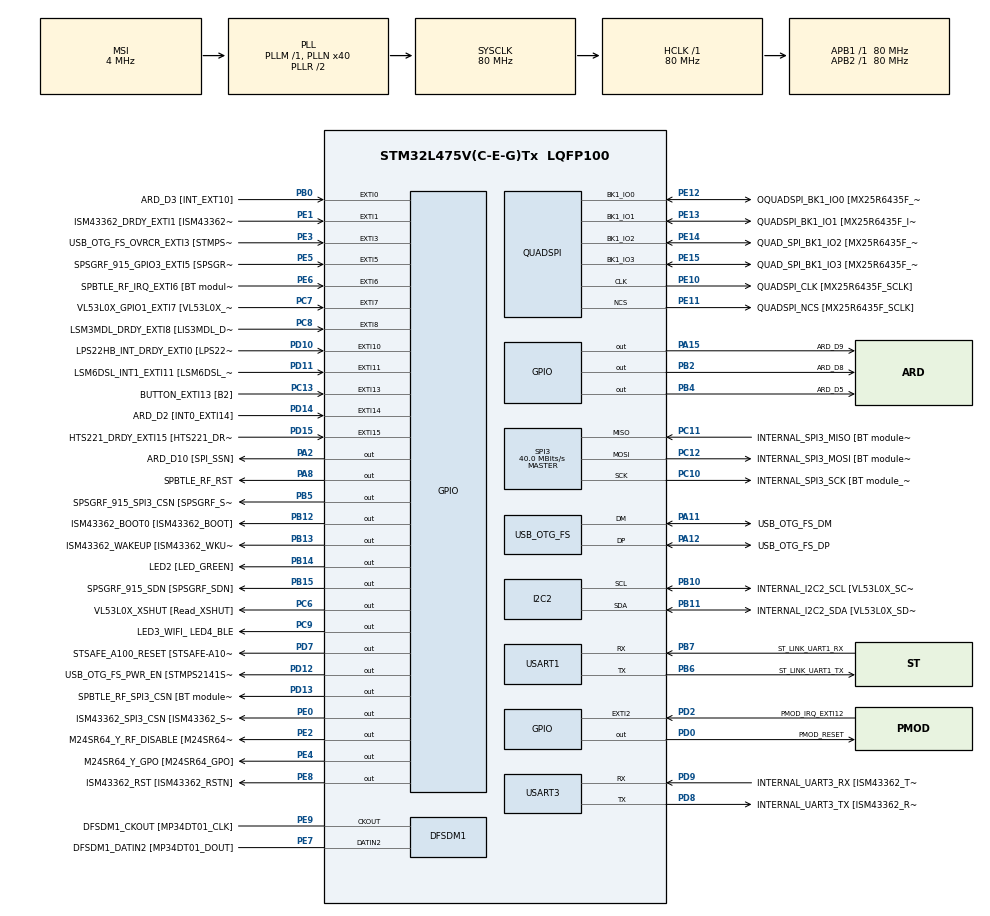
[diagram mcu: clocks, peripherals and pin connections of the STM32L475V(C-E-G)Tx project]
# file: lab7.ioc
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Mcu.Family=STM32L4
Mcu.Name=STM32L475V(C-E-G)Tx
Mcu.Package=LQFP100
NVIC.EXTI15_10_IRQn=true\:0\:0\:false\:false\:true\:true\:true\:true
NVIC.EXTI9_5_IRQn=true\:0\:0\:false\:false\:true\:true\:true\:true
NVIC.PriorityGroup=NVIC_PRIORITYGROUP_4
PA0.GPIO_Label=ARD_D1 [UART4_TX]
PA0.Signal=UART4_TX
PA1.GPIO_Label=ARD_D0 [UART4_RX]
PA1.Signal=UART4_RX
PA10.GPIO_Label=USB_OTG_FS_ID
PA10.Signal=USB_OTG_FS_ID
PA11.GPIO_Label=USB_OTG_FS_DM
PA11.Mode=Device_Only
PA11.Signal=USB_OTG_FS_DM
PA12.GPIO_Label=USB_OTG_FS_DP
PA12.Mode=Device_Only
PA12.Signal=USB_OTG_FS_DP
PA13\ (JTMS-SWDIO).GPIO_Label=SYS_JTMS_SWDIO
PA13\ (JTMS-SWDIO).Mode=Serial_Wire
PA13\ (JTMS-SWDIO).Signal=SYS_JTMS-SWDIO
PA14\ (JTCK-SWCLK).GPIO_Label=SYS_JTCK_SWCLK
PA14\ (JTCK-SWCLK).Mode=Serial_Wire
PA14\ (JTCK-SWCLK).Signal=SYS_JTCK-SWCLK
PA15\ (JTDI).GPIO_Label=ARD_D9
PA15\ (JTDI).Signal=GPIO_Output
PA2.GPIO_Label=ARD_D10 [SPI_SSN]
PA2.Signal=GPIO_Output
PA3.GPIO_Label=ARD_D4
PA3.Signal=S_TIM2_CH4
PA4.GPIO_Label=ARD_D7
PA4.Signal=ADCx_IN9
PA5.GPIO_Label=ARD_D13 [SPI1_SCK]
PA5.Signal=SPI1_SCK
PA6.GPIO_Label=ARD_D12 [SPI1_MISO]
PA6.Signal=SPI1_MISO
PA7.GPIO_Label=ARD_D11 [SPI1_MOSI]
PA7.Signal=SPI1_MOSI
PA8.GPIO_Label=SPBTLE_RF_RST
PA8.Signal=GPIO_Output
PA9.GPIO_Label=USB_OTG_FS_VBUS [STMPS2141STR_OUT]
PA9.Signal=USB_OTG_FS_VBUS
PB0.GPIO_Label=ARD_D3 [INT_EXT10]
PB0.Signal=GPXTI0
PB1.GPIO_Label=ARD_D6 [ADC1_IN6]
PB1.Signal=ADCx_IN16
PB10.GPIO_Label=INTERNAL_I2C2_SCL [VL53L0X_SCL]
PB10.GPIO_Pu=GPIO_PULLUP
PB10.Mode=I2C
PB10.Signal=I2C2_SCL
PB11.GPIO_Label=INTERNAL_I2C2_SDA [VL53L0X_SDA]
PB11.GPIO_Pu=GPIO_PULLUP
PB11.Mode=I2C
PB11.Signal=I2C2_SDA
PB12.GPIO_Label=ISM43362_BOOT0 [ISM43362_BOOT]
PB12.Signal=GPIO_Output
PB13.GPIO_Label=ISM43362_WAKEUP [ISM43362_WKUP]
PB13.Signal=GPIO_Output
PB14.GPIO_Label=LED2 [LED_GREEN]
PB14.Signal=GPIO_Output
PB15.GPIO_Label=SPSGRF_915_SDN [SPSGRF_SDN]
PB15.Signal=GPIO_Output
PB2.GPIO_Label=ARD_D8
PB2.Signal=GPIO_Output
PB3\ (JTDO-TRACESWO).GPIO_Label=SYS_JTD0_SWO
PB3\ (JTDO-TRACESWO).Signal=SYS_JTDO-SWO
PB4\ (NJTRST).GPIO_Label=ARD_D5
PB4\ (NJTRST).Signal=GPIO_Output
PB5.GPIO_Label=SPSGRF_915_SPI3_CSN [SPSGRF_SPI_CS]
PB5.PinState=GPIO_PIN_SET
PB5.Signal=GPIO_Output
PB6.GPIO_Label=ST_LINK_UART1_TX
PB6.Mode=Asynchronous
PB6.Signal=USART1_TX
PB7.GPIO_Label=ST_LINK_UART1_RX
PB7.Mode=Asynchronous
PB7.Signal=USART1_RX
PB8.GPIO_Label=ARD_D15 [I2C1_SCL]
PB8.Signal=I2C1_SCL
PB9.GPIO_Label=ARD_D14 [I2C1_SDA]
PB9.Signal=I2C1_SDA
PC0.GPIO_Label=ARD_A5 [ADC]
PC0.Signal=ADCx_IN1
PC1.GPIO_Label=ARD_A4 [ADC]
PC1.Signal=ADCx_IN2
PC10.GPIO_Label=INTERNAL_SPI3_SCK [BT module_SPI_SCLK] [ISM43362_SCK]
PC10.Mode=Full_Duplex_Master
PC10.Signal=SPI3_SCK
PC11.GPIO_Label=INTERNAL_SPI3_MISO [BT module_SPI_MISO] [ISM43362_MISO]
PC11.Mode=Full_Duplex_Master
PC11.Signal=SPI3_MISO
PC12.GPIO_Label=INTERNAL_SPI3_MOSI [BT module_SPI_MOSI] [ISM43362_MOSI]
PC12.Mode=Full_Duplex_Master
PC12.Signal=SPI3_MOSI
PC13.GPIO_Label=BUTTON_EXTI13 [B2]
PC13.GPIO_ModeDefaultEXTI=GPIO_MODE_IT_FALLING
PC13.Signal=GPXTI13
PC14-OSC32_IN\ (PC14).Mode=LSE-External-Oscillator
PC14-OSC32_IN\ (PC14).Signal=RCC_OSC32_IN
PC15-OSC32_OUT\ (PC15).Mode=LSE-External-Oscillator
PC15-OSC32_OUT\ (PC15).Signal=RCC_OSC32_OUT
PC2.GPIO_Label=ARD_A3 [ADC]
PC2.Signal=ADCx_IN3
PC3.GPIO_Label=ARD_A2 [ADC]
PC3.Signal=ADCx_IN4
PC4.GPIO_Label=ARD_A1 [ADC]
PC4.Signal=ADCx_IN13
PC5.GPIO_Label=ARD_A0 [ADC]
PC5.Signal=ADCx_IN14
PC6.GPIO_Label=VL53L0X_XSHUT [Read_XSHUT]
PC6.Signal=GPIO_Output
PC7.GPIO_Label=VL53L0X_GPIO1_EXTI7 [VL53L0X_GPIO1]
PC7.Signal=GPXTI7
PC8.GPIO_Label=LSM3MDL_DRDY_EXTI8 [LIS3MDL_DRDY]
PC8.Signal=GPXTI8
PC9.GPIO_Label=LED3_WIFI_ LED4_BLE
PC9.Signal=GPIO_Output
PD0.GPIO_Label=PMOD_RESET
PD0.Signal=GPIO_Output
PD1.GPIO_Label=PMOD_SPI2_SCK
PD1.Signal=SPI2_SCK
PD10.GPIO_Label=LPS22HB_INT_DRDY_EXTI0 [LPS22HB_INT_DRDY] 
PD10.Signal=GPXTI10
PD11.GPIO_Label=LSM6DSL_INT1_EXTI11 [LSM6DSL_INT1]
PD11.Signal=GPXTI11
PD12.GPIO_Label=USB_OTG_FS_PWR_EN [STMPS2141STR_EN]
PD12.Signal=GPIO_Output
PD13.GPIO_Label=SPBTLE_RF_SPI3_CSN [BT module_SPI_CS]
PD13.PinState=GPIO_PIN_SET
PD13.Signal=GPIO_Output
PD14.GPIO_Label=ARD_D2 [INT0_EXTI14]
PD14.Signal=GPXTI14
PD15.GPIO_Label=HTS221_DRDY_EXTI15 [HTS221_DRDY]
PD15.Signal=GPXTI15
PD2.GPIO_Label=PMOD_IRQ_EXTI12
PD2.Signal=GPXTI2
PD3.GPIO_Label=PMOD_UART2_CTS
PD3.Signal=USART2_CTS
PD4.GPIO_Label=PMOD_UART2_RTS
PD4.Signal=USART2_RTS
PD5.GPIO_Label=PMOD_UART2_TX
PD5.Signal=USART2_TX
PD6.GPIO_Label=PMOD_UART2_RX
PD6.Signal=USART2_RX
PD7.GPIO_Label=STSAFE_A100_RESET [STSAFE-A100_RESET]
PD7.Signal=GPIO_Output
PD8.GPIO_Label=INTERNAL_UART3_TX [ISM43362_RX]
PD8.Mode=Asynchronous
PD8.Signal=USART3_TX
PD9.GPIO_Label=INTERNAL_UART3_RX [ISM43362_TX]
PD9.Mode=Asynchronous
PD9.Signal=USART3_RX
PE0.GPIO_Label=ISM43362_SPI3_CSN [ISM43362_SSN]
PE0.PinState=GPIO_PIN_SET
PE0.Signal=GPIO_Output
PE1.GPIO_Label=ISM43362_DRDY_EXTI1 [ISM43362_DATARDY]
PE1.Signal=GPXTI1
PE10.GPIO_Label=QUADSPI_CLK [MX25R6435F_SCLK]
PE10.Mode=Single Bank
PE10.Signal=QUADSPI_CLK
PE11.GPIO_Label=QUADSPI_NCS [MX25R6435F_SCLK]
PE11.Mode=Single Bank
PE11.Signal=QUADSPI_NCS
PE12.GPIO_Label=OQUADSPI_BK1_IO0 [MX25R6435F_IO0]
PE12.Mode=Single Bank
PE12.Signal=QUADSPI_BK1_IO0
PE13.GPIO_Label=QUADSPI_BK1_IO1 [MX25R6435F_IO1]
PE13.Mode=Single Bank
PE13.Signal=QUADSPI_BK1_IO1
PE14.GPIO_Label=QUAD_SPI_BK1_IO2 [MX25R6435F_IO2]
PE14.Mode=Single Bank
PE14.Signal=QUADSPI_BK1_IO2
PE15.GPIO_Label=QUAD_SPI_BK1_IO3 [MX25R6435F_IO3]
PE15.Mode=Single Bank
PE15.Signal=QUADSPI_BK1_IO3
PE2.GPIO_Label=M24SR64_Y_RF_DISABLE [M24SR64_RFDIS]
PE2.Signal=GPIO_Output
PE3.GPIO_Label=USB_OTG_FS_OVRCR_EXTI3 [STMPS2141STR_FAULT]
PE3.Signal=GPXTI3
PE4.GPIO_Label=M24SR64_Y_GPO [M24SR64_GPO]
PE4.Signal=GPIO_Output
PE5.GPIO_Label=SPSGRF_915_GPIO3_EXTI5 [SPSGRF_GPIO_3]
PE5.Signal=GPXTI5
PE6.GPIO_Label=SPBTLE_RF_IRQ_EXTI6 [BT module_SPI_IRQ]
PE6.Signal=GPXTI6
PE7.GPIO_Label=DFSDM1_DATIN2 [MP34DT01_DOUT]
PE7.Signal=S_DATAIN2DFSDM1
PE8.GPIO_Label=ISM43362_RST [ISM43362_RSTN]
PE8.Signal=GPIO_Output
PE9.GPIO_Label=DFSDM1_CKOUT [MP34DT01_CLK]
PE9.Signal=S_CKOUTDFSDM1
ProjectManager.HeapSize=0x200
ProjectManager.StackSize=0x400
ProjectManager.TargetToolchain=STM32CubeIDE
QUADSPI.ClockPrescaler=2
QUADSPI.FifoThreshold=4
QUADSPI.FlashSize=23
QUADSPI.SampleShifting=QSPI_SAMPLE_SHIFTING_HALFCYCLE
RCC.ADCFreq_Value=48000000
RCC.AHBFreq_Value=80000000
RCC.APB1Freq_Value=80000000
RCC.APB1TimFreq_Value=80000000
RCC.APB2Freq_Value=80000000
RCC.APB2TimFreq_Value=80000000
RCC.CortexFreq_Value=80000000
RCC.HCLKFreq_Value=80000000
RCC.HSE_VALUE=8000000
RCC.HSI_VALUE=16000000
RCC.MSI_VALUE=4000000
RCC.PLLN=40
RCC.PLLSAI1N=24
RCC.SYSCLKFreq_VALUE=80000000
RCC.SYSCLKSource=RCC_SYSCLKSOURCE_PLLCLK
RCC.USBFreq_Value=48000000
RCC.VCOOutputFreq_Value=160000000
SH.ADCx_IN1.0=ADC1_IN1
SH.ADCx_IN13.0=ADC1_IN13
SH.ADCx_IN14.0=ADC1_IN14
SH.ADCx_IN16.0=ADC1_IN16
SH.ADCx_IN2.0=ADC1_IN2
SH.ADCx_IN3.0=ADC1_IN3
SH.ADCx_IN4.0=ADC1_IN4
SH.ADCx_IN9.0=ADC1_IN9
SH.S_CKOUTDFSDM1.0=DFSDM1_CKOUT,CKOUT
SH.S_CKOUTDFSDM1.1=DFSDM1_CKOUT,PDM_SPI_Input_from_ch12_and_Internal_Clock
SH.S_DATAIN2DFSDM1.0=DFSDM1_DATIN2,PDM_SPI_Input_from_ch12_and_Internal_Clock
SH.S_TIM2_CH4.0=TIM2_CH4
SPI3.CalculateBaudRate=40.0 MBits/s
SPI3.Direction=SPI_DIRECTION_2LINES
SPI3.Mode=SPI_MODE_MASTER
SPI3.VirtualType=VM_MASTER
USART1.VirtualMode-Asynchronous=VM_ASYNC
USART3.VirtualMode-Asynchronous=VM_ASYNC
USB_OTG_FS.VirtualMode=Device_Only
board=B-L475E-IOT01A2

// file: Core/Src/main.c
/* USER CODE BEGIN Header */
/**
  ******************************************************************************
  * @file           : main.c
  * @brief          : Main program body
  ******************************************************************************
  * @attention
  *
  * Copyright (c) 2025 STMicroelectronics.
  * All rights reserved.
  *
  * This software is licensed under terms that can be found in the LICENSE file
  * in the root directory of this software component.
  * If no LICENSE file comes with this software, it is provided AS-IS.
  *
  ******************************************************************************
  */
/* USER CODE END Header */
#include "main.h"

/* USER CODE BEGIN Includes */
#include <stdio.h>
#include "arm_math.h"
#include "math_helper.h"
#include "stm32l475e_iot01.h"
#include "stm32l475e_iot01_accelero.h"
/* USER CODE END Includes */

/* USER CODE BEGIN PD */
#define TEST_LENGTH_SAMPLES  320
#define SNR_THRESHOLD_F32    140.0f
#define BLOCK_SIZE            32
#define NUM_TAPS              29
extern float32_t testInput_f32_1kHz_15kHz[TEST_LENGTH_SAMPLES];
extern float32_t refOutput[TEST_LENGTH_SAMPLES];
static float32_t testOutput[TEST_LENGTH_SAMPLES];
static float32_t firStateF32[BLOCK_SIZE + NUM_TAPS - 1];
const float32_t firCoeffs32[NUM_TAPS] = {
  -0.0018225230f, -0.0015879294f, +0.0000000000f, +0.0036977508f, +0.0080754303f, +0.0085302217f, -0.0000000000f, -0.0173976984f,
  -0.0341458607f, -0.0333591565f, +0.0000000000f, +0.0676308395f, +0.1522061835f, +0.2229246956f, +0.2504960933f, +0.2229246956f,
  +0.1522061835f, +0.0676308395f, +0.0000000000f, -0.0333591565f, -0.0341458607f, -0.0173976984f, -0.0000000000f, +0.0085302217f,
  +0.0080754303f, +0.0036977508f, +0.0000000000f, -0.0015879294f, -0.0018225230f
};
uint32_t blockSize = BLOCK_SIZE;
uint32_t numBlocks = TEST_LENGTH_SAMPLES/BLOCK_SIZE;

float32_t  snr;
/* USER CODE END PD */

DFSDM_Channel_HandleTypeDef hdfsdm1_channel1;

I2C_HandleTypeDef hi2c2;

QSPI_HandleTypeDef hqspi;

SPI_HandleTypeDef hspi3;

UART_HandleTypeDef huart1;
UART_HandleTypeDef huart3;

PCD_HandleTypeDef hpcd_USB_OTG_FS;

/* USER CODE BEGIN PV */
int16_t pDataXYZ[3];
float32_t sensorInput[3];    // X, Y, Z
float32_t sensorOutput[3];   // Filtered X, Y, Z
arm_fir_instance_f32 S_sensor[3];  // Three FIR filter instances, for X, Y, Z separately
float32_t firStateX[BLOCK_SIZE + NUM_TAPS - 1];
float32_t firStateY[BLOCK_SIZE + NUM_TAPS - 1];
float32_t firStateZ[BLOCK_SIZE + NUM_TAPS - 1];
/* USER CODE END PV */

void SystemClock_Config(void);
static void MX_GPIO_Init(void);
static void MX_DFSDM1_Init(void);
static void MX_I2C2_Init(void);
static void MX_QUADSPI_Init(void);
static void MX_SPI3_Init(void);
static void MX_USART1_UART_Init(void);
static void MX_USART3_UART_Init(void);
static void MX_USB_OTG_FS_PCD_Init(void);
/* USER CODE BEGIN PFP */
void arm_fir_example(void);
void read_sensor_data(int16_t *pDataXYZ);
void process_sensor_data_with_fir(int16_t* rawData);
/* USER CODE END PFP */

/* USER CODE BEGIN 0 */
int __io_putchar(int ch)
{
	HAL_UART_Transmit(&huart1, (uint8_t *)&ch, 1, 0xFFFF);
	return ch;
}
/* USER CODE END 0 */

int main(void)
{

  /* MCU Configuration--------------------------------------------------------*/

  /* Reset of all peripherals, Initializes the Flash interface and the Systick. */
  HAL_Init();

  /* Configure the system clock */
  SystemClock_Config();

  /* Initialize all configured peripherals */
  MX_GPIO_Init();
  MX_DFSDM1_Init();
  MX_I2C2_Init();
  MX_QUADSPI_Init();
  MX_SPI3_Init();
  MX_USART1_UART_Init();
  MX_USART3_UART_Init();
  MX_USB_OTG_FS_PCD_Init();
  /* USER CODE BEGIN 2 */
  printf("UART Init\n");
  BSP_ACCELERO_Init();
  // Initialize FIR filters for X, Y, Z
  arm_fir_init_f32(&S_sensor[0], NUM_TAPS, (float32_t *)&firCoeffs32[0], &firStateX[0], 1);
  arm_fir_init_f32(&S_sensor[1], NUM_TAPS, (float32_t *)&firCoeffs32[0], &firStateY[0], 1);
  arm_fir_init_f32(&S_sensor[2], NUM_TAPS, (float32_t *)&firCoeffs32[0], &firStateZ[0], 1);
  printf("accelero\n");
  //arm_fir_example();
  printf("finished\n");
  /* USER CODE END 2 */

  /* Infinite loop */
  /* USER CODE BEGIN WHILE */
  while (1)
  {
	  read_sensor_data(pDataXYZ);
	  process_sensor_data_with_fir(pDataXYZ);
	  HAL_Delay(100);
    /* USER CODE END WHILE */

  }
}

void SystemClock_Config(void)
{
  RCC_OscInitTypeDef RCC_OscInitStruct = {0};
  RCC_ClkInitTypeDef RCC_ClkInitStruct = {0};

  /** Configure the main internal regulator output voltage
  */
  if (HAL_PWREx_ControlVoltageScaling(PWR_REGULATOR_VOLTAGE_SCALE1) != HAL_OK)
  {
    Error_Handler();
  }

  /** Configure LSE Drive Capability
  */
  HAL_PWR_EnableBkUpAccess();
  __HAL_RCC_LSEDRIVE_CONFIG(RCC_LSEDRIVE_LOW);

  /** Initializes the RCC Oscillators according to the specified parameters
  * in the RCC_OscInitTypeDef structure.
  */
  RCC_OscInitStruct.OscillatorType = RCC_OSCILLATORTYPE_LSE|RCC_OSCILLATORTYPE_MSI;
  RCC_OscInitStruct.LSEState = RCC_LSE_ON;
  RCC_OscInitStruct.MSIState = RCC_MSI_ON;
  RCC_OscInitStruct.MSICalibrationValue = 0;
  RCC_OscInitStruct.MSIClockRange = RCC_MSIRANGE_6;
  RCC_OscInitStruct.PLL.PLLState = RCC_PLL_ON;
  RCC_OscInitStruct.PLL.PLLSource = RCC_PLLSOURCE_MSI;
  RCC_OscInitStruct.PLL.PLLM = 1;
  RCC_OscInitStruct.PLL.PLLN = 40;
  RCC_OscInitStruct.PLL.PLLP = RCC_PLLP_DIV7;
  RCC_OscInitStruct.PLL.PLLQ = RCC_PLLQ_DIV2;
  RCC_OscInitStruct.PLL.PLLR = RCC_PLLR_DIV2;
  if (HAL_RCC_OscConfig(&RCC_OscInitStruct) != HAL_OK)
  {
    Error_Handler();
  }

  /** Initializes the CPU, AHB and APB buses clocks
  */
  RCC_ClkInitStruct.ClockType = RCC_CLOCKTYPE_HCLK|RCC_CLOCKTYPE_SYSCLK
                              |RCC_CLOCKTYPE_PCLK1|RCC_CLOCKTYPE_PCLK2;
  RCC_ClkInitStruct.SYSCLKSource = RCC_SYSCLKSOURCE_PLLCLK;
  RCC_ClkInitStruct.AHBCLKDivider = RCC_SYSCLK_DIV1;
  RCC_ClkInitStruct.APB1CLKDivider = RCC_HCLK_DIV1;
  RCC_ClkInitStruct.APB2CLKDivider = RCC_HCLK_DIV1;

  if (HAL_RCC_ClockConfig(&RCC_ClkInitStruct, FLASH_LATENCY_4) != HAL_OK)
  {
    Error_Handler();
  }

  /** Enable MSI Auto calibration
  */
  HAL_RCCEx_EnableMSIPLLMode();
}

static void MX_DFSDM1_Init(void)
{

  hdfsdm1_channel1.Instance = DFSDM1_Channel1;
  hdfsdm1_channel1.Init.OutputClock.Activation = ENABLE;
  hdfsdm1_channel1.Init.OutputClock.Selection = DFSDM_CHANNEL_OUTPUT_CLOCK_SYSTEM;
  hdfsdm1_channel1.Init.OutputClock.Divider = 2;
  hdfsdm1_channel1.Init.Input.Multiplexer = DFSDM_CHANNEL_EXTERNAL_INPUTS;
  hdfsdm1_channel1.Init.Input.DataPacking = DFSDM_CHANNEL_STANDARD_MODE;
  hdfsdm1_channel1.Init.Input.Pins = DFSDM_CHANNEL_FOLLOWING_CHANNEL_PINS;
  hdfsdm1_channel1.Init.SerialInterface.Type = DFSDM_CHANNEL_SPI_RISING;
  hdfsdm1_channel1.Init.SerialInterface.SpiClock = DFSDM_CHANNEL_SPI_CLOCK_INTERNAL;
  hdfsdm1_channel1.Init.Awd.FilterOrder = DFSDM_CHANNEL_FASTSINC_ORDER;
  hdfsdm1_channel1.Init.Awd.Oversampling = 1;
  hdfsdm1_channel1.Init.Offset = 0;
  hdfsdm1_channel1.Init.RightBitShift = 0x00;
  if (HAL_DFSDM_ChannelInit(&hdfsdm1_channel1) != HAL_OK)
  {
    Error_Handler();
  }

}

static void MX_I2C2_Init(void)
{

  hi2c2.Instance = I2C2;
  hi2c2.Init.Timing = 0x00000E14;
  hi2c2.Init.OwnAddress1 = 0;
  hi2c2.Init.AddressingMode = I2C_ADDRESSINGMODE_7BIT;
  hi2c2.Init.DualAddressMode = I2C_DUALADDRESS_DISABLE;
  hi2c2.Init.OwnAddress2 = 0;
  hi2c2.Init.OwnAddress2Masks = I2C_OA2_NOMASK;
  hi2c2.Init.GeneralCallMode = I2C_GENERALCALL_DISABLE;
  hi2c2.Init.NoStretchMode = I2C_NOSTRETCH_DISABLE;
  if (HAL_I2C_Init(&hi2c2) != HAL_OK)
  {
    Error_Handler();
  }

  /** Configure Analogue filter
  */
  if (HAL_I2CEx_ConfigAnalogFilter(&hi2c2, I2C_ANALOGFILTER_ENABLE) != HAL_OK)
  {
    Error_Handler();
  }

  /** Configure Digital filter
  */
  if (HAL_I2CEx_ConfigDigitalFilter(&hi2c2, 0) != HAL_OK)
  {
    Error_Handler();
  }

}

static void MX_QUADSPI_Init(void)
{

  /* QUADSPI parameter configuration*/
  hqspi.Instance = QUADSPI;
  hqspi.Init.ClockPrescaler = 2;
  hqspi.Init.FifoThreshold = 4;
  hqspi.Init.SampleShifting = QSPI_SAMPLE_SHIFTING_HALFCYCLE;
  hqspi.Init.FlashSize = 23;
  hqspi.Init.ChipSelectHighTime = QSPI_CS_HIGH_TIME_1_CYCLE;
  hqspi.Init.ClockMode = QSPI_CLOCK_MODE_0;
  if (HAL_QSPI_Init(&hqspi) != HAL_OK)
  {
    Error_Handler();
  }

}

static void MX_SPI3_Init(void)
{

  /* SPI3 parameter configuration*/
  hspi3.Instance = SPI3;
  hspi3.Init.Mode = SPI_MODE_MASTER;
  hspi3.Init.Direction = SPI_DIRECTION_2LINES;
  hspi3.Init.DataSize = SPI_DATASIZE_4BIT;
  hspi3.Init.CLKPolarity = SPI_POLARITY_LOW;
  hspi3.Init.CLKPhase = SPI_PHASE_1EDGE;
  hspi3.Init.NSS = SPI_NSS_SOFT;
  hspi3.Init.BaudRatePrescaler = SPI_BAUDRATEPRESCALER_2;
  hspi3.Init.FirstBit = SPI_FIRSTBIT_MSB;
  hspi3.Init.TIMode = SPI_TIMODE_DISABLE;
  hspi3.Init.CRCCalculation = SPI_CRCCALCULATION_DISABLE;
  hspi3.Init.CRCPolynomial = 7;
  hspi3.Init.CRCLength = SPI_CRC_LENGTH_DATASIZE;
  hspi3.Init.NSSPMode = SPI_NSS_PULSE_ENABLE;
  if (HAL_SPI_Init(&hspi3) != HAL_OK)
  {
    Error_Handler();
  }

}

static void MX_USART1_UART_Init(void)
{

  huart1.Instance = USART1;
  huart1.Init.BaudRate = 115200;
  huart1.Init.WordLength = UART_WORDLENGTH_8B;
  huart1.Init.StopBits = UART_STOPBITS_1;
  huart1.Init.Parity = UART_PARITY_NONE;
  huart1.Init.Mode = UART_MODE_TX_RX;
  huart1.Init.HwFlowCtl = UART_HWCONTROL_NONE;
  huart1.Init.OverSampling = UART_OVERSAMPLING_16;
  huart1.Init.OneBitSampling = UART_ONE_BIT_SAMPLE_DISABLE;
  huart1.AdvancedInit.AdvFeatureInit = UART_ADVFEATURE_NO_INIT;
  if (HAL_UART_Init(&huart1) != HAL_OK)
  {
    Error_Handler();
  }

}

static void MX_USART3_UART_Init(void)
{

  huart3.Instance = USART3;
  huart3.Init.BaudRate = 115200;
  huart3.Init.WordLength = UART_WORDLENGTH_8B;
  huart3.Init.StopBits = UART_STOPBITS_1;
  huart3.Init.Parity = UART_PARITY_NONE;
  huart3.Init.Mode = UART_MODE_TX_RX;
  huart3.Init.HwFlowCtl = UART_HWCONTROL_NONE;
  huart3.Init.OverSampling = UART_OVERSAMPLING_16;
  huart3.Init.OneBitSampling = UART_ONE_BIT_SAMPLE_DISABLE;
  huart3.AdvancedInit.AdvFeatureInit = UART_ADVFEATURE_NO_INIT;
  if (HAL_UART_Init(&huart3) != HAL_OK)
  {
    Error_Handler();
  }

}

static void MX_USB_OTG_FS_PCD_Init(void)
{

  hpcd_USB_OTG_FS.Instance = USB_OTG_FS;
  hpcd_USB_OTG_FS.Init.dev_endpoints = 6;
  hpcd_USB_OTG_FS.Init.speed = PCD_SPEED_FULL;
  hpcd_USB_OTG_FS.Init.phy_itface = PCD_PHY_EMBEDDED;
  hpcd_USB_OTG_FS.Init.Sof_enable = DISABLE;
  hpcd_USB_OTG_FS.Init.low_power_enable = DISABLE;
  hpcd_USB_OTG_FS.Init.lpm_enable = DISABLE;
  hpcd_USB_OTG_FS.Init.battery_charging_enable = DISABLE;
  hpcd_USB_OTG_FS.Init.use_dedicated_ep1 = DISABLE;
  hpcd_USB_OTG_FS.Init.vbus_sensing_enable = DISABLE;
  if (HAL_PCD_Init(&hpcd_USB_OTG_FS) != HAL_OK)
  {
    Error_Handler();
  }

}

static void MX_GPIO_Init(void)
{
  GPIO_InitTypeDef GPIO_InitStruct = {0};

  /* GPIO Ports Clock Enable */
  __HAL_RCC_GPIOE_CLK_ENABLE();
  __HAL_RCC_GPIOC_CLK_ENABLE();
  __HAL_RCC_GPIOA_CLK_ENABLE();
  __HAL_RCC_GPIOB_CLK_ENABLE();
  __HAL_RCC_GPIOD_CLK_ENABLE();

  /*Configure GPIO pin Output Level */
  HAL_GPIO_WritePin(GPIOE, M24SR64_Y_RF_DISABLE_Pin|M24SR64_Y_GPO_Pin|ISM43362_RST_Pin, GPIO_PIN_RESET);

  /*Configure GPIO pin Output Level */
  HAL_GPIO_WritePin(GPIOA, ARD_D10_Pin|SPBTLE_RF_RST_Pin|ARD_D9_Pin, GPIO_PIN_RESET);

  /*Configure GPIO pin Output Level */
  HAL_GPIO_WritePin(GPIOB, ARD_D8_Pin|ISM43362_BOOT0_Pin|ISM43362_WAKEUP_Pin|LED2_Pin
                          |SPSGRF_915_SDN_Pin|ARD_D5_Pin, GPIO_PIN_RESET);

  /*Configure GPIO pin Output Level */
  HAL_GPIO_WritePin(GPIOD, USB_OTG_FS_PWR_EN_Pin|PMOD_RESET_Pin|STSAFE_A100_RESET_Pin, GPIO_PIN_RESET);

  /*Configure GPIO pin Output Level */
  HAL_GPIO_WritePin(SPBTLE_RF_SPI3_CSN_GPIO_Port, SPBTLE_RF_SPI3_CSN_Pin, GPIO_PIN_SET);

  /*Configure GPIO pin Output Level */
  HAL_GPIO_WritePin(GPIOC, VL53L0X_XSHUT_Pin|LED3_WIFI__LED4_BLE_Pin, GPIO_PIN_RESET);

  /*Configure GPIO pin Output Level */
  HAL_GPIO_WritePin(SPSGRF_915_SPI3_CSN_GPIO_Port, SPSGRF_915_SPI3_CSN_Pin, GPIO_PIN_SET);

  /*Configure GPIO pin Output Level */
  HAL_GPIO_WritePin(ISM43362_SPI3_CSN_GPIO_Port, ISM43362_SPI3_CSN_Pin, GPIO_PIN_SET);

  /*Configure GPIO pins : M24SR64_Y_RF_DISABLE_Pin M24SR64_Y_GPO_Pin ISM43362_RST_Pin ISM43362_SPI3_CSN_Pin */
  GPIO_InitStruct.Pin = M24SR64_Y_RF_DISABLE_Pin|M24SR64_Y_GPO_Pin|ISM43362_RST_Pin|ISM43362_SPI3_CSN_Pin;
  GPIO_InitStruct.Mode = GPIO_MODE_OUTPUT_PP;
  GPIO_InitStruct.Pull = GPIO_NOPULL;
  GPIO_InitStruct.Speed = GPIO_SPEED_FREQ_LOW;
  HAL_GPIO_Init(GPIOE, &GPIO_InitStruct);

  /*Configure GPIO pins : USB_OTG_FS_OVRCR_EXTI3_Pin SPSGRF_915_GPIO3_EXTI5_Pin SPBTLE_RF_IRQ_EXTI6_Pin ISM43362_DRDY_EXTI1_Pin */
  GPIO_InitStruct.Pin = USB_OTG_FS_OVRCR_EXTI3_Pin|SPSGRF_915_GPIO3_EXTI5_Pin|SPBTLE_RF_IRQ_EXTI6_Pin|ISM43362_DRDY_EXTI1_Pin;
  GPIO_InitStruct.Mode = GPIO_MODE_IT_RISING;
  GPIO_InitStruct.Pull = GPIO_NOPULL;
  HAL_GPIO_Init(GPIOE, &GPIO_InitStruct);

  /*Configure GPIO pin : BUTTON_EXTI13_Pin */
  GPIO_InitStruct.Pin = BUTTON_EXTI13_Pin;
  GPIO_InitStruct.Mode = GPIO_MODE_IT_FALLING;
  GPIO_InitStruct.Pull = GPIO_NOPULL;
  HAL_GPIO_Init(BUTTON_EXTI13_GPIO_Port, &GPIO_InitStruct);

  /*Configure GPIO pins : ARD_A5_Pin ARD_A4_Pin ARD_A3_Pin ARD_A2_Pin
                           ARD_A1_Pin ARD_A0_Pin */
  GPIO_InitStruct.Pin = ARD_A5_Pin|ARD_A4_Pin|ARD_A3_Pin|ARD_A2_Pin
                          |ARD_A1_Pin|ARD_A0_Pin;
  GPIO_InitStruct.Mode = GPIO_MODE_ANALOG_ADC_CONTROL;
  GPIO_InitStruct.Pull = GPIO_NOPULL;
  HAL_GPIO_Init(GPIOC, &GPIO_InitStruct);

  /*Configure GPIO pins : ARD_D1_Pin ARD_D0_Pin */
  GPIO_InitStruct.Pin = ARD_D1_Pin|ARD_D0_Pin;
  GPIO_InitStruct.Mode = GPIO_MODE_AF_PP;
  GPIO_InitStruct.Pull = GPIO_NOPULL;
  GPIO_InitStruct.Speed = GPIO_SPEED_FREQ_VERY_HIGH;
  GPIO_InitStruct.Alternate = GPIO_AF8_UART4;
  HAL_GPIO_Init(GPIOA, &GPIO_InitStruct);

  /*Configure GPIO pins : ARD_D10_Pin SPBTLE_RF_RST_Pin ARD_D9_Pin */
  GPIO_InitStruct.Pin = ARD_D10_Pin|SPBTLE_RF_RST_Pin|ARD_D9_Pin;
  GPIO_InitStruct.Mode = GPIO_MODE_OUTPUT_PP;
  GPIO_InitStruct.Pull = GPIO_NOPULL;
  GPIO_InitStruct.Speed = GPIO_SPEED_FREQ_LOW;
  HAL_GPIO_Init(GPIOA, &GPIO_InitStruct);

  /*Configure GPIO pin : ARD_D4_Pin */
  GPIO_InitStruct.Pin = ARD_D4_Pin;
  GPIO_InitStruct.Mode = GPIO_MODE_AF_PP;
  GPIO_InitStruct.Pull = GPIO_NOPULL;
  GPIO_InitStruct.Speed = GPIO_SPEED_FREQ_LOW;
  GPIO_InitStruct.Alternate = GPIO_AF1_TIM2;
  HAL_GPIO_Init(ARD_D4_GPIO_Port, &GPIO_InitStruct);

  /*Configure GPIO pin : ARD_D7_Pin */
  GPIO_InitStruct.Pin = ARD_D7_Pin;
  GPIO_InitStruct.Mode = GPIO_MODE_ANALOG_ADC_CONTROL;
  GPIO_InitStruct.Pull = GPIO_NOPULL;
  HAL_GPIO_Init(ARD_D7_GPIO_Port, &GPIO_InitStruct);

  /*Configure GPIO pins : ARD_D13_Pin ARD_D12_Pin ARD_D11_Pin */
  GPIO_InitStruct.Pin = ARD_D13_Pin|ARD_D12_Pin|ARD_D11_Pin;
  GPIO_InitStruct.Mode = GPIO_MODE_AF_PP;
  GPIO_InitStruct.Pull = GPIO_NOPULL;
  GPIO_InitStruct.Speed = GPIO_SPEED_FREQ_VERY_HIGH;
  GPIO_InitStruct.Alternate = GPIO_AF5_SPI1;
  HAL_GPIO_Init(GPIOA, &GPIO_InitStruct);

  /*Configure GPIO pin : ARD_D3_Pin */
  GPIO_InitStruct.Pin = ARD_D3_Pin;
  GPIO_InitStruct.Mode = GPIO_MODE_IT_RISING;
  GPIO_InitStruct.Pull = GPIO_NOPULL;
  HAL_GPIO_Init(ARD_D3_GPIO_Port, &GPIO_InitStruct);

  /*Configure GPIO pin : ARD_D6_Pin */
  GPIO_InitStruct.Pin = ARD_D6_Pin;
  GPIO_InitStruct.Mode = GPIO_MODE_ANALOG_ADC_CONTROL;
  GPIO_InitStruct.Pull = GPIO_NOPULL;
  HAL_GPIO_Init(ARD_D6_GPIO_Port, &GPIO_InitStruct);

  /*Configure GPIO pins : ARD_D8_Pin ISM43362_BOOT0_Pin ISM43362_WAKEUP_Pin LED2_Pin
                           SPSGRF_915_SDN_Pin ARD_D5_Pin SPSGRF_915_SPI3_CSN_Pin */
  GPIO_InitStruct.Pin = ARD_D8_Pin|ISM43362_BOOT0_Pin|ISM43362_WAKEUP_Pin|LED2_Pin
                          |SPSGRF_915_SDN_Pin|ARD_D5_Pin|SPSGRF_915_SPI3_CSN_Pin;
  GPIO_InitStruct.Mode = GPIO_MODE_OUTPUT_PP;
  GPIO_InitStruct.Pull = GPIO_NOPULL;
  GPIO_InitStruct.Speed = GPIO_SPEED_FREQ_LOW;
  HAL_GPIO_Init(GPIOB, &GPIO_InitStruct);

  /*Configure GPIO pins : LPS22HB_INT_DRDY_EXTI0_Pin LSM6DSL_INT1_EXTI11_Pin ARD_D2_Pin HTS221_DRDY_EXTI15_Pin
                           PMOD_IRQ_EXTI12_Pin */
  GPIO_InitStruct.Pin = LPS22HB_INT_DRDY_EXTI0_Pin|LSM6DSL_INT1_EXTI11_Pin|ARD_D2_Pin|HTS221_DRDY_EXTI15_Pin
                          |PMOD_IRQ_EXTI12_Pin;
  GPIO_InitStruct.Mode = GPIO_MODE_IT_RISING;
  GPIO_InitStruct.Pull = GPIO_NOPULL;
  HAL_GPIO_Init(GPIOD, &GPIO_InitStruct);

  /*Configure GPIO pins : USB_OTG_FS_PWR_EN_Pin SPBTLE_RF_SPI3_CSN_Pin PMOD_RESET_Pin STSAFE_A100_RESET_Pin */
  GPIO_InitStruct.Pin = USB_OTG_FS_PWR_EN_Pin|SPBTLE_RF_SPI3_CSN_Pin|PMOD_RESET_Pin|STSAFE_A100_RESET_Pin;
  GPIO_InitStruct.Mode = GPIO_MODE_OUTPUT_PP;
  GPIO_InitStruct.Pull = GPIO_NOPULL;
  GPIO_InitStruct.Speed = GPIO_SPEED_FREQ_LOW;
  HAL_GPIO_Init(GPIOD, &GPIO_InitStruct);

  /*Configure GPIO pins : VL53L0X_XSHUT_Pin LED3_WIFI__LED4_BLE_Pin */
  GPIO_InitStruct.Pin = VL53L0X_XSHUT_Pin|LED3_WIFI__LED4_BLE_Pin;
  GPIO_InitStruct.Mode = GPIO_MODE_OUTPUT_PP;
  GPIO_InitStruct.Pull = GPIO_NOPULL;
  GPIO_InitStruct.Speed = GPIO_SPEED_FREQ_LOW;
  HAL_GPIO_Init(GPIOC, &GPIO_InitStruct);

  /*Configure GPIO pins : VL53L0X_GPIO1_EXTI7_Pin LSM3MDL_DRDY_EXTI8_Pin */
  GPIO_InitStruct.Pin = VL53L0X_GPIO1_EXTI7_Pin|LSM3MDL_DRDY_EXTI8_Pin;
  GPIO_InitStruct.Mode = GPIO_MODE_IT_RISING;
  GPIO_InitStruct.Pull = GPIO_NOPULL;
  HAL_GPIO_Init(GPIOC, &GPIO_InitStruct);

  /*Configure GPIO pin : PMOD_SPI2_SCK_Pin */
  GPIO_InitStruct.Pin = PMOD_SPI2_SCK_Pin;
  GPIO_InitStruct.Mode = GPIO_MODE_AF_PP;
  GPIO_InitStruct.Pull = GPIO_NOPULL;
  GPIO_InitStruct.Speed = GPIO_SPEED_FREQ_VERY_HIGH;
  GPIO_InitStruct.Alternate = GPIO_AF5_SPI2;
  HAL_GPIO_Init(PMOD_SPI2_SCK_GPIO_Port, &GPIO_InitStruct);

  /*Configure GPIO pins : PMOD_UART2_CTS_Pin PMOD_UART2_RTS_Pin PMOD_UART2_TX_Pin PMOD_UART2_RX_Pin */
  GPIO_InitStruct.Pin = PMOD_UART2_CTS_Pin|PMOD_UART2_RTS_Pin|PMOD_UART2_TX_Pin|PMOD_UART2_RX_Pin;
  GPIO_InitStruct.Mode = GPIO_MODE_AF_PP;
  GPIO_InitStruct.Pull = GPIO_NOPULL;
  GPIO_InitStruct.Speed = GPIO_SPEED_FREQ_VERY_HIGH;
  GPIO_InitStruct.Alternate = GPIO_AF7_USART2;
  HAL_GPIO_Init(GPIOD, &GPIO_InitStruct);

  /*Configure GPIO pins : ARD_D15_Pin ARD_D14_Pin */
  GPIO_InitStruct.Pin = ARD_D15_Pin|ARD_D14_Pin;
  GPIO_InitStruct.Mode = GPIO_MODE_AF_OD;
  GPIO_InitStruct.Pull = GPIO_NOPULL;
  GPIO_InitStruct.Speed = GPIO_SPEED_FREQ_VERY_HIGH;
  GPIO_InitStruct.Alternate = GPIO_AF4_I2C1;
  HAL_GPIO_Init(GPIOB, &GPIO_InitStruct);

  /* EXTI interrupt init*/
  HAL_NVIC_SetPriority(EXTI9_5_IRQn, 0, 0);
  HAL_NVIC_EnableIRQ(EXTI9_5_IRQn);

  HAL_NVIC_SetPriority(EXTI15_10_IRQn, 0, 0);
  HAL_NVIC_EnableIRQ(EXTI15_10_IRQn);

}

/* USER CODE BEGIN 4 */
void arm_fir_example(void)
{
  uint32_t i;
  arm_fir_instance_f32 S;
  arm_status status;
  float32_t  *inputF32, *outputF32;

  /* Initialize input and output buffer pointers */
  inputF32 = &testInput_f32_1kHz_15kHz[0];
  outputF32 = &testOutput[0];

  /* Call FIR init function to initialize the instance structure. */
  arm_fir_init_f32(&S, NUM_TAPS, (float32_t *)&firCoeffs32[0], &firStateF32[0], blockSize);

  /* ----------------------------------------------------------------------
  ** Call the FIR process function for every blockSize samples
  ** ------------------------------------------------------------------- */

  for(i=0; i < numBlocks; i++)
  {
    arm_fir_f32(&S, inputF32 + (i * blockSize), outputF32 + (i * blockSize), blockSize);
  }

  /* ----------------------------------------------------------------------
  ** Compare the generated output against the reference output computed
  ** in MATLAB.
  ** ------------------------------------------------------------------- */

  snr = arm_snr_f32(&refOutput[0], &testOutput[0], TEST_LENGTH_SAMPLES);

  if (snr < SNR_THRESHOLD_F32)
  {
    status = ARM_MATH_TEST_FAILURE;
  }
  else
  {
    status = ARM_MATH_SUCCESS;
    printf("ARM_MATH_SUCCESS\n");
  }

  /* ----------------------------------------------------------------------
  ** Loop here if the signal does not match the reference output.
  ** ------------------------------------------------------------------- */

  if ( status != ARM_MATH_SUCCESS)
  {
    while (1);
  }

  printf("FIR example ran successfully.\n");                         /* main function does not return */
}
void read_sensor_data(int16_t* pDataXYZ) {
  BSP_ACCELERO_AccGetXYZ(pDataXYZ);
  printf("Accel X: %d, Y: %d, Z: %d\n", pDataXYZ[0], pDataXYZ[1], pDataXYZ[2]);
}
void process_sensor_data_with_fir(int16_t* rawData)
{
    sensorInput[0] = (float32_t)rawData[0];
    sensorInput[1] = (float32_t)rawData[1];
    sensorInput[2] = (float32_t)rawData[2];

    arm_fir_f32(&S_sensor[0], &sensorInput[0], &sensorOutput[0], 1);
    arm_fir_f32(&S_sensor[1], &sensorInput[1], &sensorOutput[1], 1);
    arm_fir_f32(&S_sensor[2], &sensorInput[2], &sensorOutput[2], 1);

    printf("Filtered Accel X: %.2f, Y: %.2f, Z: %.2f\n", sensorOutput[0], sensorOutput[1], sensorOutput[2]);
}
/* USER CODE END 4 */

void Error_Handler(void)
{
  __disable_irq();
  while (1)
  {
  }
}
